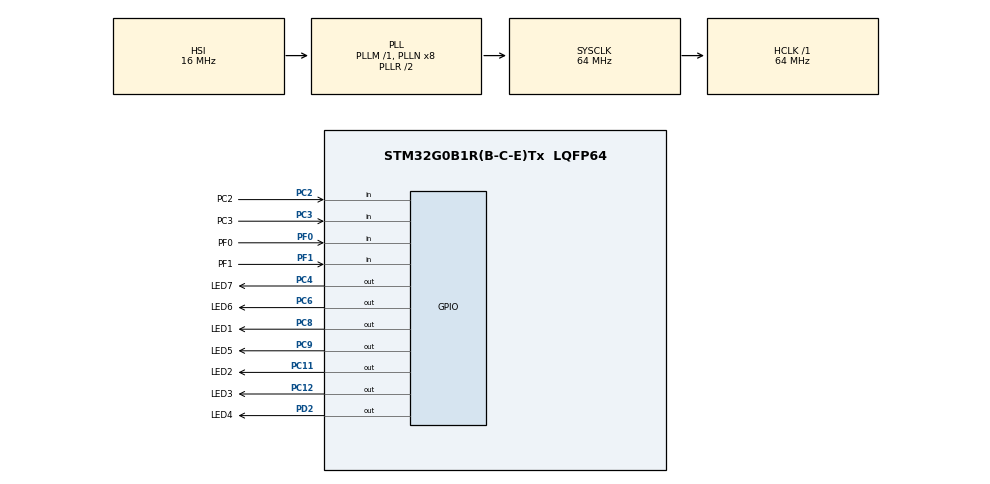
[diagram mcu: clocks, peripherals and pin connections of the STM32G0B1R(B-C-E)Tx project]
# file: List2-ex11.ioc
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Mcu.Family=STM32G0
Mcu.Name=STM32G0B1R(B-C-E)Tx
Mcu.Package=LQFP64
PA13.Mode=Serial_Wire
PA13.Signal=SYS_SWDIO
PA14-BOOT0.Mode=Serial_Wire
PA14-BOOT0.Signal=SYS_SWCLK
PC11.GPIO_Label=LED2
PC11.Signal=GPIO_Output
PC12.GPIO_Label=LED3
PC12.Signal=GPIO_Output
PC2.GPIO_Label=PC2
PC2.GPIO_PuPd=GPIO_PULLUP
PC2.Signal=GPIO_Input
PC3.GPIO_Label=PC3
PC3.GPIO_PuPd=GPIO_PULLUP
PC3.Signal=GPIO_Input
PC4.GPIO_Label=LED7
PC4.Signal=GPIO_Output
PC6.GPIO_Label=LED6
PC6.Signal=GPIO_Output
PC8.GPIO_Label=LED1
PC8.Signal=GPIO_Output
PC9.GPIO_Label=LED5
PC9.Signal=GPIO_Output
PD2.GPIO_Label=LED4
PD2.Signal=GPIO_Output
PF0-OSC_IN\ (PF0).GPIO_Label=PF0
PF0-OSC_IN\ (PF0).GPIO_PuPd=GPIO_PULLUP
PF0-OSC_IN\ (PF0).Signal=GPIO_Input
PF1-OSC_OUT\ (PF1).GPIO_Label=PF1
PF1-OSC_OUT\ (PF1).GPIO_PuPd=GPIO_PULLUP
PF1-OSC_OUT\ (PF1).Signal=GPIO_Input
ProjectManager.HeapSize=0x200
ProjectManager.StackSize=0x400
ProjectManager.TargetToolchain=STM32CubeIDE
RCC.ADCFreq_Value=64000000
RCC.AHBFreq_Value=64000000
RCC.CortexFreq_Value=64000000
RCC.EXTERNAL_CLOCK_VALUE=48000
RCC.HCLKFreq_Value=64000000
RCC.HSE_VALUE=8000000
RCC.HSI48_VALUE=48000000
RCC.HSI_VALUE=16000000
RCC.LSE_VALUE=32768
RCC.SYSCLKFreq_VALUE=64000000
RCC.SYSCLKSource=RCC_SYSCLKSOURCE_PLLCLK
RCC.USBFreq_Value=48000000
RCC.VCOOutputFreq_Value=128000000
VP_SYS_VS_DBSignals.Mode=DisableDeadBatterySignals
board=custom

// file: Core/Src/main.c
/* USER CODE BEGIN Header */
/**
  ******************************************************************************
  * @file           : main.c
  * @brief          : Main program body
  ******************************************************************************
  * @attention
  *
  * Copyright (c) 2022 STMicroelectronics.
  * All rights reserved.
  *
  * This software is licensed under terms that can be found in the LICENSE file
  * in the root directory of this software component.
  * If no LICENSE file comes with this software, it is provided AS-IS.
  *
  ******************************************************************************
  */
/* USER CODE END Header */
#include "main.h"
#include <stdint.h>

/* USER CODE BEGIN PV */
uint32_t bit1 , bit2, bit3, bit4, result = 0;
/* USER CODE END PV */

void SystemClock_Config(void);
static void MX_GPIO_Init(void);

int main(void)
{

  /* MCU Configuration--------------------------------------------------------*/

  /* Reset of all peripherals, Initializes the Flash interface and the Systick. */
  HAL_Init();

  /* Configure the system clock */
  SystemClock_Config();

  /* Initialize all configured peripherals */
  MX_GPIO_Init();

  /* Infinite loop */
  /* USER CODE BEGIN WHILE */
  while (1)
  {

	 bit1 = HAL_GPIO_ReadPin(PC3_GPIO_Port, PC3_Pin);
	 bit2 = HAL_GPIO_ReadPin(PC2_GPIO_Port, PC2_Pin);
	 bit3 = HAL_GPIO_ReadPin(PF1_GPIO_Port, PF1_Pin);
	 bit4 = HAL_GPIO_ReadPin(PF0_GPIO_Port, PF0_Pin);

	 result = bit1 + bit2 * 2 + bit3 * 4 + bit4 * 8;
//	 result++;                    //103 - 109 = Loop to show all the numbers

//	 HAL_Delay(1000);
//	 if(result == 15)
//		 while(result != 1){
//			 result--;
//		 }
	 switch(result)
	 {
		 case 1:
			 HAL_GPIO_WritePin(LED1_GPIO_Port, LED1_Pin, 1);
			 HAL_GPIO_WritePin(LED2_GPIO_Port, LED2_Pin, 1);
			 HAL_GPIO_WritePin(LED3_GPIO_Port, LED3_Pin, 0);
			 HAL_GPIO_WritePin(LED4_GPIO_Port, LED4_Pin, 1);
			 HAL_GPIO_WritePin(LED5_GPIO_Port, LED5_Pin, 1);
			 HAL_GPIO_WritePin(LED6_GPIO_Port, LED6_Pin, 0);
			 HAL_GPIO_WritePin(LED7_GPIO_Port, LED7_Pin, 1);
			 break;

		 case 2:
			 HAL_GPIO_WritePin(LED1_GPIO_Port, LED1_Pin, 0);
			 HAL_GPIO_WritePin(LED2_GPIO_Port, LED2_Pin, 0);
			 HAL_GPIO_WritePin(LED3_GPIO_Port, LED3_Pin, 1);
			 HAL_GPIO_WritePin(LED4_GPIO_Port, LED4_Pin, 1);
			 HAL_GPIO_WritePin(LED5_GPIO_Port, LED5_Pin, 0);
			 HAL_GPIO_WritePin(LED6_GPIO_Port, LED6_Pin, 0);
			 HAL_GPIO_WritePin(LED7_GPIO_Port, LED7_Pin, 0);
			 break;

		 case 3:
			 HAL_GPIO_WritePin(LED1_GPIO_Port, LED1_Pin, 1);
			 HAL_GPIO_WritePin(LED2_GPIO_Port, LED2_Pin, 0);
			 HAL_GPIO_WritePin(LED3_GPIO_Port, LED3_Pin, 0);
			 HAL_GPIO_WritePin(LED4_GPIO_Port, LED4_Pin, 1);
			 HAL_GPIO_WritePin(LED5_GPIO_Port, LED5_Pin, 0);
			 HAL_GPIO_WritePin(LED6_GPIO_Port, LED6_Pin, 0);
			 HAL_GPIO_WritePin(LED7_GPIO_Port, LED7_Pin, 0);
			 break;

		 case 4:
			 HAL_GPIO_WritePin(LED1_GPIO_Port, LED1_Pin, 1);
			 HAL_GPIO_WritePin(LED2_GPIO_Port, LED2_Pin, 1);
			 HAL_GPIO_WritePin(LED3_GPIO_Port, LED3_Pin, 0);
			 HAL_GPIO_WritePin(LED4_GPIO_Port, LED4_Pin, 0);
			 HAL_GPIO_WritePin(LED5_GPIO_Port, LED5_Pin, 1);
			 HAL_GPIO_WritePin(LED6_GPIO_Port, LED6_Pin, 0);
			 HAL_GPIO_WritePin(LED7_GPIO_Port, LED7_Pin, 0);
			 break;

		 case 5:
			 HAL_GPIO_WritePin(LED1_GPIO_Port, LED1_Pin, 1);
			 HAL_GPIO_WritePin(LED2_GPIO_Port, LED2_Pin, 0);
			 HAL_GPIO_WritePin(LED3_GPIO_Port, LED3_Pin, 0);
			 HAL_GPIO_WritePin(LED4_GPIO_Port, LED4_Pin, 0);
			 HAL_GPIO_WritePin(LED5_GPIO_Port, LED5_Pin, 0);
			 HAL_GPIO_WritePin(LED6_GPIO_Port, LED6_Pin, 1);
			 HAL_GPIO_WritePin(LED7_GPIO_Port, LED7_Pin, 0);
			 break;

		 case 6:
			 HAL_GPIO_WritePin(LED1_GPIO_Port, LED1_Pin, 0);
			 HAL_GPIO_WritePin(LED2_GPIO_Port, LED2_Pin, 0);
			 HAL_GPIO_WritePin(LED3_GPIO_Port, LED3_Pin, 0);
			 HAL_GPIO_WritePin(LED4_GPIO_Port, LED4_Pin, 0);
			 HAL_GPIO_WritePin(LED5_GPIO_Port, LED5_Pin, 0);
			 HAL_GPIO_WritePin(LED6_GPIO_Port, LED6_Pin, 1);
			 HAL_GPIO_WritePin(LED7_GPIO_Port, LED7_Pin, 0);
			 break;

		 case 7:
			 HAL_GPIO_WritePin(LED1_GPIO_Port, LED1_Pin, 1);
			 HAL_GPIO_WritePin(LED2_GPIO_Port, LED2_Pin, 1);
			 HAL_GPIO_WritePin(LED3_GPIO_Port, LED3_Pin, 0);
			 HAL_GPIO_WritePin(LED4_GPIO_Port, LED4_Pin, 1);
			 HAL_GPIO_WritePin(LED5_GPIO_Port, LED5_Pin, 0);
			 HAL_GPIO_WritePin(LED6_GPIO_Port, LED6_Pin, 0);
			 HAL_GPIO_WritePin(LED7_GPIO_Port, LED7_Pin, 1);
			 break;

		 case 8:
			 HAL_GPIO_WritePin(LED1_GPIO_Port, LED1_Pin, 0);
			 HAL_GPIO_WritePin(LED2_GPIO_Port, LED2_Pin, 0);
			 HAL_GPIO_WritePin(LED3_GPIO_Port, LED3_Pin, 0);
			 HAL_GPIO_WritePin(LED4_GPIO_Port, LED4_Pin, 0);
			 HAL_GPIO_WritePin(LED5_GPIO_Port, LED5_Pin, 0);
			 HAL_GPIO_WritePin(LED6_GPIO_Port, LED6_Pin, 0);
			 HAL_GPIO_WritePin(LED7_GPIO_Port, LED7_Pin, 0);
			 break;

		 case 9:
				 HAL_GPIO_WritePin(LED1_GPIO_Port, LED1_Pin, 1);
				 HAL_GPIO_WritePin(LED2_GPIO_Port, LED2_Pin, 1);
				 HAL_GPIO_WritePin(LED3_GPIO_Port, LED3_Pin, 0);
				 HAL_GPIO_WritePin(LED4_GPIO_Port, LED4_Pin, 0);
				 HAL_GPIO_WritePin(LED5_GPIO_Port, LED5_Pin, 0);
				 HAL_GPIO_WritePin(LED6_GPIO_Port, LED6_Pin, 0);
				 HAL_GPIO_WritePin(LED7_GPIO_Port, LED7_Pin, 0);
				 break;

		 case 10:
				 HAL_GPIO_WritePin(LED1_GPIO_Port, LED1_Pin, 0);
				 HAL_GPIO_WritePin(LED2_GPIO_Port, LED2_Pin, 1);
				 HAL_GPIO_WritePin(LED3_GPIO_Port, LED3_Pin, 0);
				 HAL_GPIO_WritePin(LED4_GPIO_Port, LED4_Pin, 0);
				 HAL_GPIO_WritePin(LED5_GPIO_Port, LED5_Pin, 0);
				 HAL_GPIO_WritePin(LED6_GPIO_Port, LED6_Pin, 0);
				 HAL_GPIO_WritePin(LED7_GPIO_Port, LED7_Pin, 0);
				 break;

		 case 11:
				 HAL_GPIO_WritePin(LED1_GPIO_Port, LED1_Pin, 0);
				 HAL_GPIO_WritePin(LED2_GPIO_Port, LED2_Pin, 0);
				 HAL_GPIO_WritePin(LED3_GPIO_Port, LED3_Pin, 0);
				 HAL_GPIO_WritePin(LED4_GPIO_Port, LED4_Pin, 0);
				 HAL_GPIO_WritePin(LED5_GPIO_Port, LED5_Pin, 1);
				 HAL_GPIO_WritePin(LED6_GPIO_Port, LED6_Pin, 1);
				 HAL_GPIO_WritePin(LED7_GPIO_Port, LED7_Pin, 0);
				 break;

		 case 12:
				 HAL_GPIO_WritePin(LED1_GPIO_Port, LED1_Pin, 0);
				 HAL_GPIO_WritePin(LED2_GPIO_Port, LED2_Pin, 0);
				 HAL_GPIO_WritePin(LED3_GPIO_Port, LED3_Pin, 1);
				 HAL_GPIO_WritePin(LED4_GPIO_Port, LED4_Pin, 0);
				 HAL_GPIO_WritePin(LED5_GPIO_Port, LED5_Pin, 0);
				 HAL_GPIO_WritePin(LED6_GPIO_Port, LED6_Pin, 1);
				 HAL_GPIO_WritePin(LED7_GPIO_Port, LED7_Pin, 1);
				 break;

		 case 13:
				 HAL_GPIO_WritePin(LED1_GPIO_Port, LED1_Pin, 0);
				 HAL_GPIO_WritePin(LED2_GPIO_Port, LED2_Pin, 0);
				 HAL_GPIO_WritePin(LED3_GPIO_Port, LED3_Pin, 0);
				 HAL_GPIO_WritePin(LED4_GPIO_Port, LED4_Pin, 1);
				 HAL_GPIO_WritePin(LED5_GPIO_Port, LED5_Pin, 1);
				 HAL_GPIO_WritePin(LED6_GPIO_Port, LED6_Pin, 0);
				 HAL_GPIO_WritePin(LED7_GPIO_Port, LED7_Pin, 0);
				 break;

		 case 14:
				 HAL_GPIO_WritePin(LED1_GPIO_Port, LED1_Pin, 0);
				 HAL_GPIO_WritePin(LED2_GPIO_Port, LED2_Pin, 0);
				 HAL_GPIO_WritePin(LED3_GPIO_Port, LED3_Pin, 1);
				 HAL_GPIO_WritePin(LED4_GPIO_Port, LED4_Pin, 0);
				 HAL_GPIO_WritePin(LED5_GPIO_Port, LED5_Pin, 0);
				 HAL_GPIO_WritePin(LED6_GPIO_Port, LED6_Pin, 1);
				 HAL_GPIO_WritePin(LED7_GPIO_Port, LED7_Pin, 0);
				 break;

		 case 15:
				 HAL_GPIO_WritePin(LED1_GPIO_Port, LED1_Pin, 0);
				 HAL_GPIO_WritePin(LED2_GPIO_Port, LED2_Pin, 1);
				 HAL_GPIO_WritePin(LED3_GPIO_Port, LED3_Pin, 1);
				 HAL_GPIO_WritePin(LED4_GPIO_Port, LED4_Pin, 0);
				 HAL_GPIO_WritePin(LED5_GPIO_Port, LED5_Pin, 0);
				 HAL_GPIO_WritePin(LED6_GPIO_Port, LED6_Pin, 1);
				 HAL_GPIO_WritePin(LED7_GPIO_Port, LED7_Pin, 0);
				 break;

		 default:
				 HAL_GPIO_WritePin(LED1_GPIO_Port, LED1_Pin, 1);
				 HAL_GPIO_WritePin(LED2_GPIO_Port, LED2_Pin, 1);
				 HAL_GPIO_WritePin(LED3_GPIO_Port, LED3_Pin, 1);
				 HAL_GPIO_WritePin(LED4_GPIO_Port, LED4_Pin, 1);
				 HAL_GPIO_WritePin(LED5_GPIO_Port, LED5_Pin, 1);
				 HAL_GPIO_WritePin(LED6_GPIO_Port, LED6_Pin, 1);
				 HAL_GPIO_WritePin(LED7_GPIO_Port, LED7_Pin, 1);
				 break;
}
    /* USER CODE END WHILE */

  }
}

void SystemClock_Config(void)
{
  RCC_OscInitTypeDef RCC_OscInitStruct = {0};
  RCC_ClkInitTypeDef RCC_ClkInitStruct = {0};

  /** Configure the main internal regulator output voltage
  */
  HAL_PWREx_ControlVoltageScaling(PWR_REGULATOR_VOLTAGE_SCALE1);
  /** Initializes the RCC Oscillators according to the specified parameters
  * in the RCC_OscInitTypeDef structure.
  */
  RCC_OscInitStruct.OscillatorType = RCC_OSCILLATORTYPE_HSI;
  RCC_OscInitStruct.HSIState = RCC_HSI_ON;
  RCC_OscInitStruct.HSIDiv = RCC_HSI_DIV1;
  RCC_OscInitStruct.HSICalibrationValue = RCC_HSICALIBRATION_DEFAULT;
  RCC_OscInitStruct.PLL.PLLState = RCC_PLL_ON;
  RCC_OscInitStruct.PLL.PLLSource = RCC_PLLSOURCE_HSI;
  RCC_OscInitStruct.PLL.PLLM = RCC_PLLM_DIV1;
  RCC_OscInitStruct.PLL.PLLN = 8;
  RCC_OscInitStruct.PLL.PLLP = RCC_PLLP_DIV2;
  RCC_OscInitStruct.PLL.PLLQ = RCC_PLLQ_DIV2;
  RCC_OscInitStruct.PLL.PLLR = RCC_PLLR_DIV2;
  if (HAL_RCC_OscConfig(&RCC_OscInitStruct) != HAL_OK)
  {
    Error_Handler();
  }
  /** Initializes the CPU, AHB and APB buses clocks
  */
  RCC_ClkInitStruct.ClockType = RCC_CLOCKTYPE_HCLK|RCC_CLOCKTYPE_SYSCLK
                              |RCC_CLOCKTYPE_PCLK1;
  RCC_ClkInitStruct.SYSCLKSource = RCC_SYSCLKSOURCE_PLLCLK;
  RCC_ClkInitStruct.AHBCLKDivider = RCC_SYSCLK_DIV1;
  RCC_ClkInitStruct.APB1CLKDivider = RCC_HCLK_DIV1;

  if (HAL_RCC_ClockConfig(&RCC_ClkInitStruct, FLASH_LATENCY_2) != HAL_OK)
  {
    Error_Handler();
  }
}

static void MX_GPIO_Init(void)
{
  GPIO_InitTypeDef GPIO_InitStruct = {0};

  /* GPIO Ports Clock Enable */
  __HAL_RCC_GPIOC_CLK_ENABLE();
  __HAL_RCC_GPIOF_CLK_ENABLE();
  __HAL_RCC_GPIOA_CLK_ENABLE();
  __HAL_RCC_GPIOD_CLK_ENABLE();

  /*Configure GPIO pin Output Level */
  HAL_GPIO_WritePin(GPIOC, LED2_Pin|LED3_Pin|LED7_Pin|LED6_Pin
                          |LED1_Pin|LED5_Pin, GPIO_PIN_RESET);

  /*Configure GPIO pin Output Level */
  HAL_GPIO_WritePin(LED4_GPIO_Port, LED4_Pin, GPIO_PIN_RESET);

  /*Configure GPIO pins : LED2_Pin LED3_Pin LED7_Pin LED6_Pin
                           LED1_Pin LED5_Pin */
  GPIO_InitStruct.Pin = LED2_Pin|LED3_Pin|LED7_Pin|LED6_Pin
                          |LED1_Pin|LED5_Pin;
  GPIO_InitStruct.Mode = GPIO_MODE_OUTPUT_PP;
  GPIO_InitStruct.Pull = GPIO_NOPULL;
  GPIO_InitStruct.Speed = GPIO_SPEED_FREQ_LOW;
  HAL_GPIO_Init(GPIOC, &GPIO_InitStruct);

  /*Configure GPIO pins : PF0_Pin PF1_Pin */
  GPIO_InitStruct.Pin = PF0_Pin|PF1_Pin;
  GPIO_InitStruct.Mode = GPIO_MODE_INPUT;
  GPIO_InitStruct.Pull = GPIO_PULLUP;
  HAL_GPIO_Init(GPIOF, &GPIO_InitStruct);

  /*Configure GPIO pins : PC2_Pin PC3_Pin */
  GPIO_InitStruct.Pin = PC2_Pin|PC3_Pin;
  GPIO_InitStruct.Mode = GPIO_MODE_INPUT;
  GPIO_InitStruct.Pull = GPIO_PULLUP;
  HAL_GPIO_Init(GPIOC, &GPIO_InitStruct);

  /*Configure GPIO pin : LED4_Pin */
  GPIO_InitStruct.Pin = LED4_Pin;
  GPIO_InitStruct.Mode = GPIO_MODE_OUTPUT_PP;
  GPIO_InitStruct.Pull = GPIO_NOPULL;
  GPIO_InitStruct.Speed = GPIO_SPEED_FREQ_LOW;
  HAL_GPIO_Init(LED4_GPIO_Port, &GPIO_InitStruct);

}

void Error_Handler(void)
{
  __disable_irq();
  while (1)
  {
  }
}
